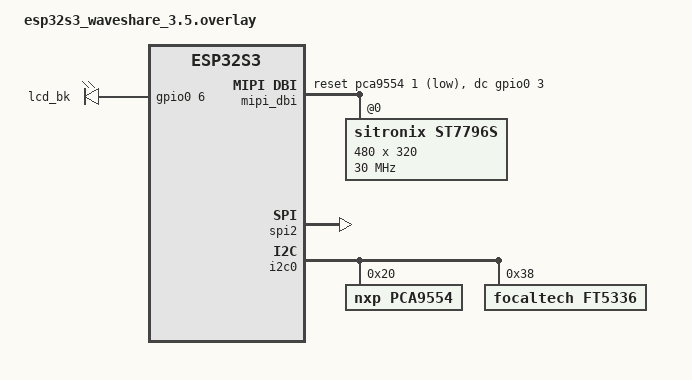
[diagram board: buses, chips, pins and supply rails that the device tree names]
#include <zephyr/dt-bindings/mipi_dbi/mipi_dbi.h>
#include <zephyr/dt-bindings/gpio/gpio.h>
#include <zephyr/dt-bindings/spi/spi.h>

/ {
  chosen {
    zephyr,display = &st7796s;
    zephyr,touch = &ft5336;
  };

  aliases {
    backlight = &lcd_bk;
  };

  mipi_dbi {
    compatible = "zephyr,mipi-dbi-spi";
    dc-gpios = <&gpio0 3 GPIO_ACTIVE_HIGH>;
    reset-gpios = <&pca9554 1 GPIO_ACTIVE_LOW>;
    spi-dev = <&spi2>;
    write-only;
    #address-cells = <1>;
    #size-cells = <0>;

    st7796s: st7796s@0 {
      compatible = "sitronix,st7796s";
      reg = <0>;
      mipi-max-frequency = <DT_FREQ_M(30)>;
      mipi-mode = "MIPI_DBI_MODE_SPI_4WIRE";
      height = <320>;
      width = <480>;
      madctl = <0x68>; // 0x36 0x08 0x68 0xC8 0xA8
      // colmod = <0x05>; // 0x3A
      invert-mode = "1-dot"; // 0xB4 (dic)
      dfc = [ 80 22 3B  ]; // 0xB6
      doca = [ 40 8A 00 00 29 19 A5 33  ]; // 0xE8
      pwr2 = <0x13>; // 0xC1
      pwr3 = <0xA7>; // 0xC2
      vcmpctl = <0x18>; // 0xC5
      pgc = [ D0 08 0F 06 06 33 30 33 47 17 13 13 2B 31  ]; // 0xE0
      ngc = [ D0 0A 11 0B 09 07 2F 33 47 38 15 16 2C 32  ]; // 0xE1
      color-invert;
    };
  };

  leds {
    compatible = "gpio-leds";
    status = "okay";
    lcd_bk: led_0 {
      gpios = <&gpio0 6 GPIO_ACTIVE_HIGH>;
    };
  };

  lvgl_pointer {
    compatible = "zephyr,lvgl-pointer-input";
    input = <&ft5336>;
    invert-y;
  };
};

&spim2_default {
  group1 {
    pinmux = <SPIM2_MISO_GPIO2>,
             <SPIM2_SCLK_GPIO5>;
  };
  group2 {
    pinmux = <SPIM2_MOSI_GPIO1>;
    output-low;
  };
};

&spi2 {
  #address-cells = <1>;
  #size-cells = <0>;
  status = "okay";
  pinctrl-0 = <&spim2_default>;
  pinctrl-names = "default";
};

&i2c0 {
  status = "okay";
  pca9554: pca9554@20 {
    compatible = "nxp,pca9554";
    reg = <0x20>;
    gpio-controller;
    #gpio-cells = <2>;
    ngpios = <8>;
  };

  ft5336: ft5336@38 {
    status = "okay";
    compatible = "focaltech,ft5336";
    reg = <0x38>;
    // int-gpios = <&pca9554 2 GPIO_ACTIVE_LOW>;
  };
};

&i2c0_default {
  group1 {
    pinmux = <I2C0_SDA_GPIO8>,
             <I2C0_SCL_GPIO7>;
    bias-pull-up;
    drive-open-drain;
    output-high;
  };
};

&dma {
  status = "okay";
};

&psram0 {
	size = <DT_SIZE_M(8)>;
};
